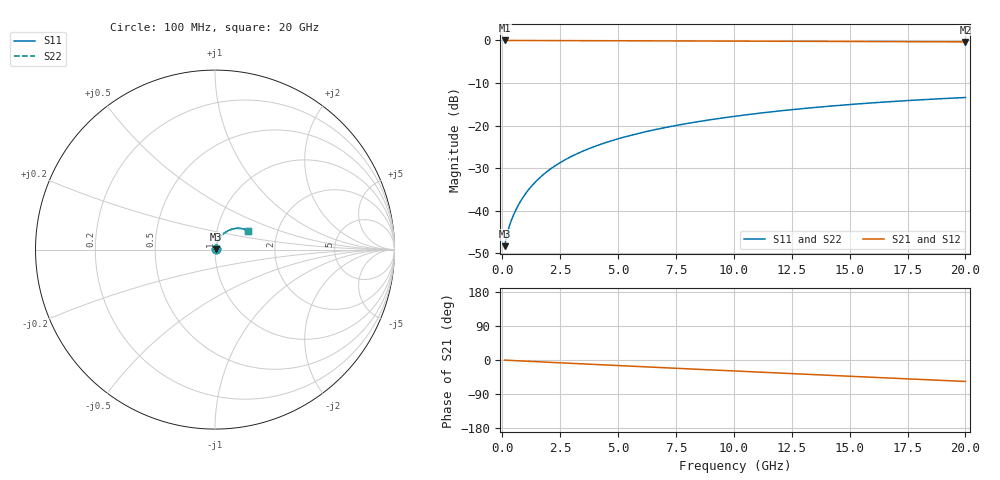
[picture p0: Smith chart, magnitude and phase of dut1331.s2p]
! Touchstone file exported from HFSS 2026.1.0
!  File:  C:/ffzhzh/LocalFiles/Ansys_Project_Files/temp_train_BSMRDL_1331_1783178687_55132.aedt
!  Generated:  11:26:08 PM Jul  4, 2026
!  Design:  BSMRDL
!  Project:  temp_train_BSMRDL_1331_1783178687_55132
! Variables:
!  h_bsmrdl = 4.37um
!  h_ox = 20um
!  h_rdl = 5um
!  h_sub = 80um
!  h_tmrdl = 5um
!  h_tsv = 80um
!  h_via = 3um
!  l_bsmrdl = 981.28um
!  l_sub = 1381.28um
!  l_tmrdl = 200um
!  m_sub = 200um
!  pitch = 38.27um
!  r_tsv = 6um
!  s_tmrdl = 10um
!  w_bsmrdl = 27.24um
!  w_sub = 500um
!  w_tmrdl = 12um
!  x_tsv_center1 = 206um
!  x_tsv_center2 = 1214.52um
!  x_tsv_center3 = 1426.52um
!  x_tsv_center4 = 2435.04um
!  x_tsv_center5 = 2647.04um
!  x_tsv_center6 = 3655.56um
# GHz S MA R 50.000000
! Terminal data exported
! Port[1] = BSM_RDL1_1_T1
! Port[2] = BSM_RDL1_1_T2
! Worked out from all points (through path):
!   200 points, 100 MHz to 20 GHz, reference 50 ohm
!   highest |S21| = -0.03 dB at 100 MHz (marker M1); lowest = -0.4 dB at 20 GHz (marker M2)
!   group delay of S21, straight-line fit = 7.84 ps
!   lowest |S11| = -48.3 dB at 100 MHz (marker M3), VSWR 1.01, Z = 50.3 + j0.202 ohm
!   |S11| at or under -10 dB: start of sweep to end of sweep
!   |S22| runs from -48.3 to -13.4 dB; largest |S21 - S12| = 1.6e-14
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0.1  0.003829 31.6  0.9967 -0.3  0.9967 -0.3  0.003829 31.6
! Gamma 0 0 0 0
! Port Impedance 50 0 50 0
0.2  0.005218 44.8  0.9963 -0.6  0.9963 -0.6  0.005218 44.8
0.3  0.006543 51.5  0.996 -0.9  0.996 -0.9  0.006543 51.5
0.4  0.007814 56.2  0.9958 -1.2  0.9958 -1.2  0.007814 56.2
0.5  0.009084 59.8  0.9956 -1.5  0.9956 -1.5  0.009084 59.8
0.6  0.01037 62.7  0.9955 -1.8  0.9955 -1.8  0.01037 62.7
0.8  0.01303 66.8  0.9953 -2.4  0.9953 -2.4  0.01303 66.8
1  0.01575 69.4  0.9951 -3.0  0.9951 -3.0  0.01575 69.4
1.2  0.01852 71.0  0.9949 -3.6  0.9949 -3.6  0.01852 71.0
1.4  0.02132 72.1  0.9947 -4.2  0.9947 -4.2  0.02132 72.1
1.7  0.02553 73.0  0.9944 -5.1  0.9944 -5.1  0.02553 72.9
2.2  0.03252 73.3  0.9937 -6.6  0.9937 -6.6  0.03252 73.3
2.8  0.04081 72.7  0.9928 -8.3  0.9928 -8.3  0.04081 72.7
3.5  0.05028 71.5  0.9916 -10.4  0.9916 -10.4  0.05029 71.4
4.2  0.05952 69.9  0.9903 -12.4  0.9903 -12.4  0.05952 69.9
5  0.06978 68.0  0.9887 -14.7  0.9887 -14.7  0.06978 68.0
6.8  0.09184 63.5  0.9851 -19.9  0.9851 -19.9  0.09184 63.4
8.3  0.1092 59.7  0.982 -24.1  0.982 -24.1  0.1092 59.6
10.1  0.129 55.1  0.9784 -29.2  0.9784 -29.2  0.129 55.0
13.4  0.1619 46.6  0.9718 -38.4  0.9718 -38.4  0.1619 46.4
16.7  0.1901 38.0  0.9655 -47.6  0.9655 -47.6  0.1901 37.8
20  0.2132 29.4  0.9597 -56.6  0.9597 -56.6  0.2132 29.1
